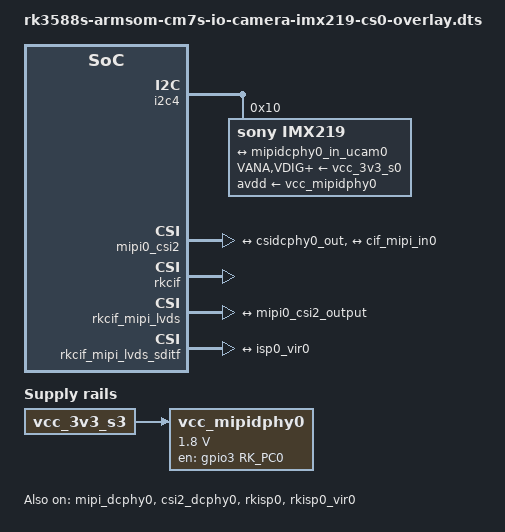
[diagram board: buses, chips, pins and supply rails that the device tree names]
/dts-v1/;
/plugin/;

#include <dt-bindings/gpio/gpio.h>
#include <dt-bindings/pinctrl/rockchip.h>
#include <dt-bindings/clock/rk3588-cru.h>
#include <dt-bindings/power/rk3588-power.h>
/ {
	fragment@0 {
		target-path = "/";
		__overlay__ {
			vcc_mipidphy0: vcc-mipi-dphy0 {
				compatible = "regulator-fixed";
				regulator-name = "vcc_mipidphy0";
				regulator-min-microvolt = <1800000>;
				regulator-max-microvolt = <1800000>;
				gpios = <&gpio3 RK_PC0 GPIO_ACTIVE_HIGH>;
				regulator-always-on;
				regulator-boot-on;
				enable-active-high;
				vin-supply = <&vcc_3v3_s3>;
				regulator-state-mem {
					regulator-off-in-suspend;
				};
			};
		};
	};

	fragment@1 {
		target = <&i2c4>;
		__overlay__ {
			status = "okay";
			pinctrl-names = "default";
			pinctrl-0 = <&i2c4m3_xfer>;
			imx219: imx219@10 {
				compatible = "sony,imx219";
				status = "okay";
				reg = <0x10>;
				#address-cells = <1>;
            	#size-cells = <0>;
				clocks = <&cru CLK_MIPI_CAMARAOUT_M0>;  
				clock-names = "xvclk";
				pinctrl-names = "default";
				pinctrl-0 = <&cam_clkout0>;  //GPIO1_B7
				VANA-supply = <&vcc_3v3_s0>;   /* 2.8v */
				VDIG-supply = <&vcc_3v3_s0>;   /* 1.8v */
				VDDL-supply = <&vcc_3v3_s0>;   /* 1.2v */
				power-domains = <&power RK3588_PD_VI>;
				avdd-supply = <&vcc_mipidphy0>;
				rockchip,camera-module-index = <1>;//<0>
				rockchip,camera-module-facing =  "back";
				rockchip,camera-module-name = "rpi-camera-v2";
				rockchip,camera-module-lens-name = "default";
				port {
					imx219_out: endpoint {
						remote-endpoint = <&mipidcphy0_in_ucam0>;
						data-lanes = <1 2>;
						clock-noncontinuous;
						link-frequencies = /bits/ 64 <456000000>;
					};
				};
			};
		};
	};

	fragment@2 {
		target = <&mipi_dcphy0>;
		__overlay__ {
			status = "okay";
		};
	};

	fragment@3 {
		target = <&csi2_dcphy0>;
		__overlay__ {
			status = "okay";

			ports {
				#address-cells = <1>;
				#size-cells = <0>;
				port@0 {
					reg = <0>;
					#address-cells = <1>;
					#size-cells = <0>;
					
					mipidcphy0_in_ucam0: endpoint@0 {
						reg = <0>;
						remote-endpoint = <&imx219_out>;
						data-lanes = <1 2>;
					};
				};
				port@1 {
					reg = <1>;
					#address-cells = <1>;
					#size-cells = <0>;

					csidcphy0_out: endpoint@0 {
						reg = <0>;
						remote-endpoint = <&mipi0_csi2_input>;
					};
				};
			};
		};
	};

	fragment@4 {
		target = <&mipi0_csi2>;
		__overlay__ {
			status = "okay";

			ports {
				#address-cells = <1>;
				#size-cells = <0>;

				port@0 {
					reg = <0>;
					#address-cells = <1>;
					#size-cells = <0>;

					mipi0_csi2_input: endpoint@1 {
						reg = <1>;
						remote-endpoint = <&csidcphy0_out>;
					};
				};

				port@1 {
					reg = <1>;
					#address-cells = <1>;
					#size-cells = <0>;

					mipi0_csi2_output: endpoint@0 {
						reg = <0>;
						remote-endpoint = <&cif_mipi_in0>;
					};
				};
			};
		};
	};

	fragment@5 {
		target = <&rkcif>;
		__overlay__ {
			status = "okay";
		};
	};

	fragment@6 {
		target = <&rkcif_mipi_lvds>;
		__overlay__ {
			status = "okay";

			port {
				cif_mipi_in0: endpoint {
					remote-endpoint = <&mipi0_csi2_output>;
				};
			};
		};
	};

	fragment@7 {
		target = <&rkcif_mipi_lvds_sditf>;
		__overlay__ {
			status = "okay";

			port {
				mipi_lvds_sditf: endpoint {
					remote-endpoint = <&isp0_vir0>;
				};
			};
		};
	};

	fragment@8 {
		target = <&rkcif_mmu>;
		__overlay__ {
			status = "okay";
		};
	};

	fragment@9 {
		target = <&rkisp0>;
		__overlay__ {
			status = "okay";
		};
	};

	fragment@10 {
		target = <&isp0_mmu>;
		__overlay__ {
			status = "okay";
		};
	};

	fragment@11 {
		target = <&rkisp0_vir0>;
		__overlay__ {
			status = "okay";

			port {
				#address-cells = <1>;
				#size-cells = <0>;

				isp0_vir0: endpoint@0 {
					reg = <0>;
					remote-endpoint = <&mipi_lvds_sditf>;
				};
			};
		};
	};

	fragment@12 {
		target = <&pinctrl>;
		__overlay__ {
			cam {
				cam_clkout0: cam-clkout0 {
					rockchip,pins = <1 RK_PB7 1 &pcfg_pull_none>;
				};
			};
		};
	};
};
